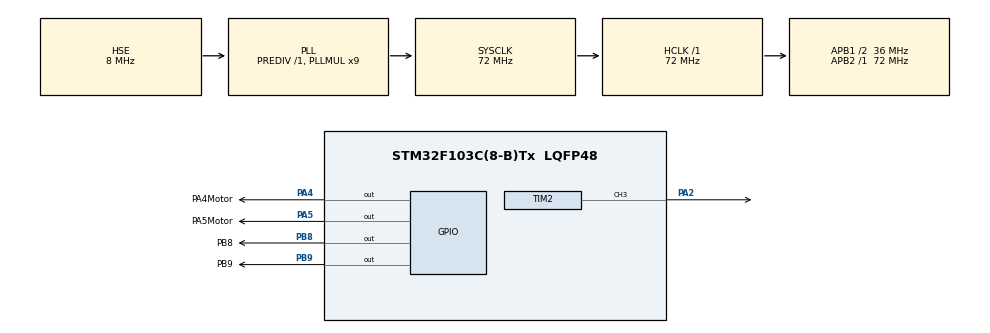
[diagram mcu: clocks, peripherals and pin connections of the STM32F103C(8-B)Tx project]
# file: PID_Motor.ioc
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Mcu.Family=STM32F1
Mcu.Name=STM32F103C(8-B)Tx
Mcu.Package=LQFP48
NVIC.PriorityGroup=NVIC_PRIORITYGROUP_4
PA13.Mode=Serial_Wire
PA13.Signal=SYS_JTMS-SWDIO
PA14.Mode=Serial_Wire
PA14.Signal=SYS_JTCK-SWCLK
PA2.Signal=S_TIM2_CH3
PA4.GPIO_Label=PA4Motor
PA4.GPIO_Speed=GPIO_SPEED_FREQ_LOW
PA4.Signal=GPIO_Output
PA5.GPIO_Label=PA5Motor
PA5.Signal=GPIO_Output
PB8.GPIO_Label=PB8
PB8.GPIO_ModeDefaultOutputPP=GPIO_MODE_OUTPUT_OD
PB8.GPIO_PuPd=GPIO_NOPULL
PB8.Signal=GPIO_Output
PB9.GPIO_Label=PB9
PB9.GPIO_ModeDefaultOutputPP=GPIO_MODE_OUTPUT_OD
PB9.GPIO_PuPd=GPIO_NOPULL
PB9.Signal=GPIO_Output
PD0-OSC_IN.Mode=HSE-External-Oscillator
PD0-OSC_IN.Signal=RCC_OSC_IN
PD1-OSC_OUT.Mode=HSE-External-Oscillator
PD1-OSC_OUT.Signal=RCC_OSC_OUT
ProjectManager.HeapSize=0x200
ProjectManager.StackSize=0x400
ProjectManager.TargetToolchain=MDK-ARM V5.32
RCC.AHBFreq_Value=72000000
RCC.APB1CLKDivider=RCC_HCLK_DIV2
RCC.APB1Freq_Value=36000000
RCC.APB1TimFreq_Value=72000000
RCC.APB2Freq_Value=72000000
RCC.APB2TimFreq_Value=72000000
RCC.HCLKFreq_Value=72000000
RCC.PLLMUL=RCC_PLL_MUL9
RCC.PLLSourceVirtual=RCC_PLLSOURCE_HSE
RCC.SYSCLKFreq_VALUE=72000000
RCC.SYSCLKSource=RCC_SYSCLKSOURCE_PLLCLK
RCC.USBFreq_Value=72000000
SH.S_TIM2_CH3.0=TIM2_CH3,PWM Generation3 CH3
TIM2.Channel-PWM\ Generation3\ CH3=TIM_CHANNEL_3
TIM2.Period=100-1
TIM2.Prescaler=72-1
TIM2.Pulse-PWM\ Generation3\ CH3=40
VP_TIM2_VS_ClockSourceINT.Mode=Internal
board=custom

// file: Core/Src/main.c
/* USER CODE BEGIN Header */
/**
  ******************************************************************************
  * @file           : main.c
  * @brief          : Main program body
  ******************************************************************************
  * @attention
  *
  * Copyright (c) 2024 STMicroelectronics.
  * All rights reserved.
  *
  * This software is licensed under terms that can be found in the LICENSE file
  * in the root directory of this software component.
  * If no LICENSE file comes with this software, it is provided AS-IS.
  *
  ******************************************************************************
  */
/* USER CODE END Header */
#include "main.h"
#include "tim.h"
#include "gpio.h"

/* USER CODE BEGIN Includes */
#include "OLED.h"
/* USER CODE END Includes */

void SystemClock_Config(void);

/* USER CODE BEGIN 0 */
void Motor_SetSpeed(int8_t Speed){
	if(Speed >= 0){
		// GPIO_SetBits(GPIOA, GPIO_Pin_4);
		// GPIO_ResetBits(GPIOA, GPIO_Pin_5);
		// PWM_SetCompare3(Speed);
    HAL_GPIO_WritePin(GPIOA, GPIO_PIN_4, GPIO_PIN_SET);
    HAL_GPIO_WritePin(GPIOA, GPIO_PIN_5, GPIO_PIN_RESET);
    __HAL_TIM_SET_COMPARE(&htim2, TIM_CHANNEL_3, Speed);
	}
	else{
		// GPIO_ResetBits(GPIOA, GPIO_Pin_4);
		// GPIO_SetBits(GPIOA, GPIO_Pin_5);
		// PWM_SetCompare3(-Speed);
    HAL_GPIO_WritePin(GPIOA, GPIO_PIN_4, GPIO_PIN_RESET);
    HAL_GPIO_WritePin(GPIOA, GPIO_PIN_5, GPIO_PIN_SET);
    __HAL_TIM_SET_COMPARE(&htim2, TIM_CHANNEL_3, -Speed);
	}
}
/* USER CODE END 0 */

int main(void)
{

  /* MCU Configuration--------------------------------------------------------*/

  /* Reset of all peripherals, Initializes the Flash interface and the Systick. */
  HAL_Init();

  /* Configure the system clock */
  SystemClock_Config();

  /* Initialize all configured peripherals */
  MX_GPIO_Init();
  MX_TIM2_Init();
  /* USER CODE BEGIN 2 */
  OLED_Init();
  HAL_TIM_PWM_Start(&htim2, TIM_CHANNEL_3);
  /* USER CODE END 2 */

  /* Infinite loop */
  while (1)
  {

    /* USER CODE BEGIN 3 */
    //从0速度开始，加速到最大速度
    for(int i = 0; i < 100; i++){
      Motor_SetSpeed(i);
      HAL_Delay(10);
    }
    //从最大速度减速到0
    for(int i = 100; i > 0; i--){
      Motor_SetSpeed(i);
      HAL_Delay(10);
    }
    //从0速度开始，减速到最小速度
    for(int i = 0; i > -100; i--){
      Motor_SetSpeed(i);
      HAL_Delay(10);
    }
    //从最小速度加速到0
    for(int i = -100; i < 0; i++){
      Motor_SetSpeed(i);
      HAL_Delay(10);
    }
  }
  /* USER CODE END 3 */
}

void SystemClock_Config(void)
{
  RCC_OscInitTypeDef RCC_OscInitStruct = {0};
  RCC_ClkInitTypeDef RCC_ClkInitStruct = {0};

  /** Initializes the RCC Oscillators according to the specified parameters
  * in the RCC_OscInitTypeDef structure.
  */
  RCC_OscInitStruct.OscillatorType = RCC_OSCILLATORTYPE_HSE;
  RCC_OscInitStruct.HSEState = RCC_HSE_ON;
  RCC_OscInitStruct.HSEPredivValue = RCC_HSE_PREDIV_DIV1;
  RCC_OscInitStruct.HSIState = RCC_HSI_ON;
  RCC_OscInitStruct.PLL.PLLState = RCC_PLL_ON;
  RCC_OscInitStruct.PLL.PLLSource = RCC_PLLSOURCE_HSE;
  RCC_OscInitStruct.PLL.PLLMUL = RCC_PLL_MUL9;
  if (HAL_RCC_OscConfig(&RCC_OscInitStruct) != HAL_OK)
  {
    Error_Handler();
  }

  /** Initializes the CPU, AHB and APB buses clocks
  */
  RCC_ClkInitStruct.ClockType = RCC_CLOCKTYPE_HCLK|RCC_CLOCKTYPE_SYSCLK
                              |RCC_CLOCKTYPE_PCLK1|RCC_CLOCKTYPE_PCLK2;
  RCC_ClkInitStruct.SYSCLKSource = RCC_SYSCLKSOURCE_PLLCLK;
  RCC_ClkInitStruct.AHBCLKDivider = RCC_SYSCLK_DIV1;
  RCC_ClkInitStruct.APB1CLKDivider = RCC_HCLK_DIV2;
  RCC_ClkInitStruct.APB2CLKDivider = RCC_HCLK_DIV1;

  if (HAL_RCC_ClockConfig(&RCC_ClkInitStruct, FLASH_LATENCY_2) != HAL_OK)
  {
    Error_Handler();
  }
}

void Error_Handler(void)
{
  __disable_irq();
  while (1)
  {
  }
}
